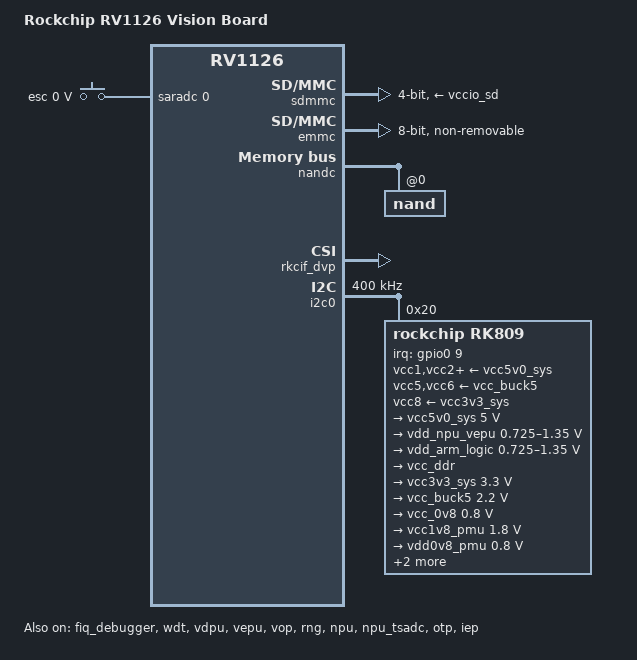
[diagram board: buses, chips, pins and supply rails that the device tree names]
// SPDX-License-Identifier: (GPL-2.0+ OR MIT)


#include <dt-bindings/display/drm_mipi_dsi.h>
#include <dt-bindings/input/input.h>
/dts-v1/;
#include "rv1126.dtsi"
#include <dt-bindings/display/media-bus-format.h>

/ {
	model = "Rockchip RV1126 Vision Board";
	compatible = "rockchip,rv1126-evb-ddr3-v10", "rockchip,rv1126";
    serial-number = "c3d9b8674f4b94f6";

	chosen {
		//bootargs = "earlycon=uart8250,mmio32,0xff570000 console=ttyFIQ0 root=/dev/mmcblk1p6 rootfstype=ext4 rw snd_aloop.index=7 oglevel=8 user_debug=31";
        bootargs = "earlycon=uart8250,mmio32,0xff570000 console=ttyFIQ0 root=PARTUUID=614e0000-0000 rootfstype=ext4 rw snd_aloop.index=7 oglevel=8 user_debug=31";

    };

    aliases {
        mmc0 = &emmc;
		mmc2 = &sdmmc;
    };

    memory {
		device_type = "memory";
		reg = <0x00 0x8400000 0x8608000 0x179f8000 0x00 0x00 0x00 0x00 0x00 0x00 0x00 0x00 0x00 0x00 0x00 0x00 0x00 0x00 0x00 0x00 0x00 0x00 0x00 0x00>;
	};

    reserved-memory {
		linux,cma {
			compatible = "shared-dma-pool";
			inactive;
			reusable;
			size = <0x800000>;
			linux,cma-default;
		};

		ramoops: ramoops@8000000 {
			console-size = <0x40000>;
			record-size = <0x20000>;
			pmsg-size = <0x40000>;
			compatible = "ramoops";
			reg = <0x8000000 0x100000>;
			ftrace-size = <0x00>;
			status = "okay";
		};

        isp_reserved: isp {
			compatible = "shared-dma-pool";
			reusable;
            size = <0x30000>;
			//size = <0x6800000>;
            inactive;
		};
	};
    
    adc-keys {
		compatible = "adc-keys";
		io-channels = <&saradc 0>;
		io-channel-names = "buttons";
		poll-interval = <100>;
		keyup-threshold-microvolt = <1800000>;

		esc-key {
			label = "esc";
			linux,code = <KEY_ESC>;
			press-threshold-microvolt = <0>;
		};
	};
};

&pinctrl {
	pmic {
		/omit-if-no-ref/
		pmic_int: pmic_int {
			rockchip,pins =
				<0 RK_PB1 RK_FUNC_GPIO &pcfg_pull_up>;
		};

		/omit-if-no-ref/
		soc_slppin_gpio: soc_slppin_gpio {
			rockchip,pins =
				<0 RK_PB2 RK_FUNC_GPIO &pcfg_output_low>;
		};

		/omit-if-no-ref/
		soc_slppin_slp: soc_slppin_slp {
			rockchip,pins =
				<0 RK_PB2 RK_FUNC_1 &pcfg_pull_none>;
		};

	};

};

&fiq_debugger {
	status = "okay";
};

&uart2{
    status = "disabled";
};


&sdmmc0_bus4 {
	rockchip,pins =
		/* sdmmc0_d0 */
		<1 RK_PA4 1 &pcfg_pull_up_drv_level_2>,
		/* sdmmc0_d1 */
		<1 RK_PA5 1 &pcfg_pull_up_drv_level_2>,
		/* sdmmc0_d2 */
		<1 RK_PA6 1 &pcfg_pull_up_drv_level_2>,
		/* sdmmc0_d3 */
		<1 RK_PA7 1 &pcfg_pull_up_drv_level_2>;
};

&sdmmc0_clk {
	rockchip,pins =
		/* sdmmc0_clk */
		<1 RK_PB0 1 &pcfg_pull_up_drv_level_3>;
};

&sdmmc0_cmd {
	rockchip,pins =
		/* sdmmc0_cmd */
		<1 RK_PB1 1 &pcfg_pull_up_drv_level_2>;
};

&sdmmc0_det {
	rockchip,pins =
		/* sdmmc0_cmd */
		<1 RK_PA3 1 &pcfg_pull_up_drv_level_2>;
};

&sdmmc0_pwr {
    /delete-property/ rockchip,pins;
};

&sdmmc {
	bus-width = <4>;
    //pinctrl-0 = <&sdmmc0_clk &sdmmc0_cmd &sdmmc0_det &sdmmc0_bus4>;
	cap-mmc-highspeed;
	cap-sd-highspeed;
	card-detect-delay = <200>;
	rockchip,default-sample-phase = <90>;
	supports-sd;
	sd-uhs-sdr12;
	sd-uhs-sdr25;
	sd-uhs-sdr104;
	vqmmc-supply = <&vccio_sd>;
    vmmc-supply = <&vccio_sd>;
	status = "okay";
    /delete-property/ cd-gpios;

};

&emmc {
	bus-width = <8>;
	max-frequency = <100000000>;
	cap-mmc-highspeed;
	non-removable;
	mmc-hs200-1_8v;
	rockchip,default-sample-phase = <90>;
	supports-emmc;
	/delete-property/ pinctrl-names;
	/delete-property/ pinctrl-0;
	status = "okay";
};

&nandc {
	/delete-property/ pinctrl-names;
	/delete-property/ pinctrl-0;
	#address-cells = <1>;
	#size-cells = <0>;

	nand@0 {
		reg = <0>;
		nand-bus-width = <8>;
		nand-ecc-mode = "hw";
		nand-ecc-strength = <16>;
		nand-ecc-step-size = <1024>;
	};
};

// &sdio {
// 	max-frequency = <200000000>;
// 	bus-width = <4>;
// 	cap-sd-highspeed;
// 	cap-sdio-irq;
// 	keep-power-in-suspend;
// 	non-removable;
// 	rockchip,default-sample-phase = <90>;
// 	sd-uhs-sdr104;
// 	supports-sdio;
// 	mmc-pwrseq = <&vccio_sd>;
// 	status = "okay";
// };

&wdt {
	status = "okay";
};

// &u2phy0 {
// 	status = "okay";
// 	vup-gpios = <&gpio0 RK_PC1 GPIO_ACTIVE_LOW>;
// 	u2phy_otg: otg-port {
// 		status = "okay";
// 	};
// };

// &u2phy1 {
// 	status = "okay";
// 	u2phy_host: host-port {
// 		status = "okay";
// 		phy-supply = <&vcc5v0_sys>;
// 	};
// };

// &usb_host0_ehci {
// 	status = "okay";
// };

// &usb_host0_ohci {
// 	status = "okay";
// };

// &usbdrd {
// 	status = "okay";
// };

// &usbdrd_dwc3 {
// 	status = "okay";
// 	extcon = <&u2phy0>;
// };

&vdpu {
	status = "okay";
};

&vepu {
	status = "okay";
};

&vpu_mmu {
	status = "okay";
};

&vop {
	status = "okay";
};

&vop_mmu {
	status = "okay";
};

// &rkvdec {
// 	status = "okay";
// };

// &rkvdec_mmu {
// 	status = "okay";
// };

// &rkvenc {
// 	venc-supply = <&vdd_npu_vepu>;
// 	status = "okay";
// };

// &rkvenc_mmu {
// 	status = "okay";
// };

&rng {
	status = "okay";
};

// &rkispp_vir0 {
// 	status = "okay";
// };

// &rkispp_mmu {
// 	status = "okay";
// };

// &rkisp_mmu {
// 	status = "okay";
// };

// &rkisp {
// 	status = "okay";
// };

&ramoops {
	status = "okay";
};

// &rk_rga {
// 	status = "okay";
// };

&npu {
	npu-supply = <&vdd_npu_vepu>;
	status = "okay";
};

&npu_tsadc {
	status = "okay";
};

&optee {
	status = "disabled";
};

&otp {
	status = "okay";
};

// &mpp_srv {
// 	status = "okay";
// };

&iep {
	status = "okay";
};

&iep_mmu {
	status = "okay";
};

&cpu0 {
	cpu-supply = <&vdd_arm_logic>;
};

&cpu_tsadc {
	status = "okay";
};


// &rkispp {
// 	status = "okay";
// 	/* the max input w h and fps of mulit sensor */
// 	//max-input = <2688 1520 30>;
// };

// &saradc {
// 	status = "okay";
// 	vref-supply = <&vcc_1v8>;
    
// };

&pmu_io_domains {
	status = "okay";

	pmuio0-supply = <&vcc1v8_pmu>;
	pmuio1-supply = <&vcc3v3_sys>;

    vccio1-supply = <&vcc_1v8>;
	vccio2-supply = <&vccio_sd>;
	vccio3-supply = <&vcc3v3_sys>;
	vccio4-supply = <&vcc_1v8>;
	vccio5-supply = <&vcc3v3_sys>;
	vccio6-supply = <&vcc_1v8>;
	vccio7-supply = <&vcc_1v8>;
};

&rkcif_mmu {
	status = "disabled";
};

&rkcif_dvp {
	status = "okay";

	port {
		/* Parallel bus endpoint */
		/*
		cif_para_in: endpoint {
			remote-endpoint = <&cam_para_out1>;
			bus-width = <12>;
			hsync-active = <1>;
			vsync-active = <0>;
		};
		*/
	};
};

&i2c0 {
	status = "okay";
	clock-frequency = <400000>;

	rk809: pmic@20 {
		compatible = "rockchip,rk809";
        status = "okay";
		reg = <0x20>;
		interrupt-parent = <&gpio0>;
		interrupts = <9 IRQ_TYPE_LEVEL_LOW>;
		pinctrl-names = "default", "pmic-sleep",
			"pmic-power-off", "pmic-reset";
		pinctrl-0 = <&pmic_int>;
		pinctrl-1 = <&soc_slppin_gpio>, <&rk817_slppin_slp>;
		pinctrl-2 = <&soc_slppin_gpio>, <&rk817_slppin_pwrdn>;
		pinctrl-3 = <&soc_slppin_slp>, <&rk817_slppin_rst>;
		rockchip,system-power-controller;
		wakeup-source;
		#clock-cells = <1>;
		clock-output-names = "rk808-clkout1", "rk808-clkout2";
		/* 0: rst the pmic, 1: rst regs (default in codes) */
		pmic-reset-func = <0>;

		vcc1-supply = <&vcc5v0_sys>;
		vcc2-supply = <&vcc5v0_sys>;
		vcc3-supply = <&vcc5v0_sys>;
		vcc4-supply = <&vcc5v0_sys>;
		vcc5-supply = <&vcc_buck5>;
		vcc6-supply = <&vcc_buck5>;
		vcc7-supply = <&vcc5v0_sys>;
		vcc8-supply = <&vcc3v3_sys>;
		vcc9-supply = <&vcc5v0_sys>;

		pwrkey {
			status = "okay";
		};

		pinctrl_rk8xx: pinctrl_rk8xx {
			gpio-controller;
			#gpio-cells = <2>;

			// /omit-if-no-ref/
			// rk817_slppin_null: rk817_slppin_null {
			// 	pins = "gpio_slp";
			// 	function = "pin_fun0";
			// };

			/omit-if-no-ref/
			rk817_slppin_slp: rk817_slppin_slp {
				pins = "gpio_slp";
				function = "pin_fun1";
			};

			/omit-if-no-ref/
			rk817_slppin_pwrdn: rk817_slppin_pwrdn {
				pins = "gpio_slp";
				function = "pin_fun2";
			};

			/omit-if-no-ref/
			rk817_slppin_rst: rk817_slppin_rst {
				pins = "gpio_slp";
				function = "pin_fun3";
			};
		};

        vcc5v0_sys: vccsys {
            compatible = "regulator-fixed";
            regulator-name = "vcc5v0_sys";
            regulator-always-on;
            regulator-boot-on;
            regulator-min-microvolt = <5000000>;
            regulator-max-microvolt = <5000000>;
            status = "okay";
	    };

		regulators {
			vdd_npu_vepu: DCDC_REG1 {
                status = "okay";
				regulator-always-on;
				regulator-boot-on;
				regulator-min-microvolt = <725000>;
				regulator-max-microvolt = <1350000>;
				regulator-ramp-delay = <6001>;
				regulator-initial-mode = <0x2>;
				regulator-name = "vdd_npu_vepu";
				regulator-state-mem {
					regulator-on-in-suspend;
				};
			};

			vdd_arm_logic: DCDC_REG2 {
                status = "okay";
				regulator-always-on;
				regulator-boot-on;
				regulator-min-microvolt = <725000>;
				regulator-max-microvolt = <1350000>;
				regulator-ramp-delay = <6001>;
				regulator-initial-mode = <0x2>;
				regulator-name = "vdd_arm_logic";
				regulator-state-mem {
					regulator-off-in-suspend;
                    regulator-suspend-microvolt = <800000>;
				};
			};

			vcc_ddr: DCDC_REG3 {
                status = "okay";
				regulator-always-on;
				regulator-boot-on;
				regulator-initial-mode = <0x2>;
				regulator-name = "vcc_ddr";
				regulator-state-mem {
					regulator-on-in-suspend;
				};
			};

			vcc3v3_sys: DCDC_REG4 {
                status = "okay";
				regulator-always-on;
				regulator-boot-on;
				regulator-min-microvolt = <3300000>;
				regulator-max-microvolt = <3300000>;
				regulator-initial-mode = <0x2>;
				regulator-name = "vcc3v3_sys";
				regulator-state-mem {
					regulator-on-in-suspend;
					regulator-suspend-microvolt = <3300000>;
				};
			};

			vcc_buck5: DCDC_REG5 {
                status = "okay";
				regulator-always-on;
				regulator-boot-on;
				regulator-min-microvolt = <2200000>;
				regulator-max-microvolt = <2200000>;
				regulator-name = "vcc_buck5";
				regulator-state-mem {
					regulator-on-in-suspend;
					regulator-suspend-microvolt = <2200000>;
				};
			};

			vcc_0v8: LDO_REG1 {
                status = "okay";
				regulator-always-on;
				regulator-boot-on;
				regulator-min-microvolt = <800000>;
				regulator-max-microvolt = <800000>;
				regulator-name = "vcc_0v8";
				regulator-state-mem {
					regulator-off-in-suspend;
				};
			};

			vcc1v8_pmu: LDO_REG2 {
                status = "okay";
				regulator-always-on;
				regulator-boot-on;
				regulator-min-microvolt = <1800000>;
				regulator-max-microvolt = <1800000>;
				regulator-name = "vcc1v8_pmu";
				regulator-state-mem {
					regulator-on-in-suspend;
					regulator-suspend-microvolt = <1800000>;
				};
			};

			vdd0v8_pmu: LDO_REG3 {
                status = "okay";
				regulator-always-on;
				regulator-boot-on;
				regulator-min-microvolt = <800000>;
				regulator-max-microvolt = <800000>;
				regulator-name = "vcc0v8_pmu";
				regulator-state-mem {
					regulator-on-in-suspend;
					regulator-suspend-microvolt = <800000>;
				};
			};

			vcc_1v8: LDO_REG4 {
                status = "okay";
				regulator-always-on;
				regulator-boot-on;
				regulator-min-microvolt = <1800000>;
				regulator-max-microvolt = <1800000>;
				regulator-name = "vcc_1v8";
				regulator-state-mem {
					regulator-on-in-suspend;
					regulator-suspend-microvolt = <1800000>;
				};
			};


			vccio_sd: LDO_REG8 {
                status = "okay";
				regulator-always-on;
				regulator-boot-on;
				regulator-min-microvolt = <1800000>;
				regulator-max-microvolt = <3300000>;
				regulator-name = "vccio_sd";
				regulator-state-mem {
					regulator-off-in-suspend;
				};
			};

			vcc3v3_sd: LDO_REG9 {
                status = "okay";
				regulator-always-on;
				regulator-boot-on;
				regulator-min-microvolt = <3300000>;
				regulator-max-microvolt = <3300000>;
				regulator-name = "vcc3v3_sd";
				regulator-state-mem {
					regulator-off-in-suspend;
				};
			};

			vcc_3v3: SWITCH_REG1 {
                status = "okay";
				regulator-name = "vcc_3v3";
			};

            reg2: SWITCH_REG2 {
                status = "disabled";
				regulator-name = "reg2";
			};
		};
	};
};


// &i2c1 {
// 	status = "okay";
// 	clock-frequency = <400000>;
// };    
